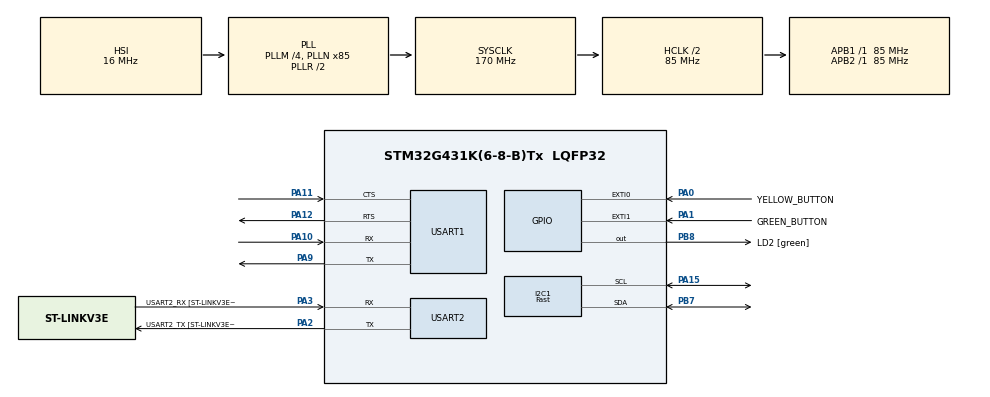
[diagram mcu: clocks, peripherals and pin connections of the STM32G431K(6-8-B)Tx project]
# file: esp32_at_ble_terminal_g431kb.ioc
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I2C1.I2C_Speed_Mode=I2C_Fast
I2C1.Timing=0x20510E2D
Mcu.Family=STM32G4
Mcu.Name=STM32G431K(6-8-B)Tx
Mcu.Package=LQFP32
NVIC.EXTI0_IRQn=true\:0\:0\:false\:false\:true\:true\:true\:true
NVIC.EXTI1_IRQn=true\:0\:0\:false\:false\:true\:true\:true\:true
NVIC.PriorityGroup=NVIC_PRIORITYGROUP_4
NVIC.USART1_IRQn=true\:0\:0\:false\:false\:true\:true\:true\:true
PA0.GPIO_Label=YELLOW_BUTTON
PA0.GPIO_ModeDefaultEXTI=GPIO_MODE_IT_FALLING
PA0.GPIO_PuPd=GPIO_PULLUP
PA0.Signal=GPXTI0
PA1.GPIO_Label=GREEN_BUTTON
PA1.GPIO_ModeDefaultEXTI=GPIO_MODE_IT_FALLING
PA1.GPIO_PuPd=GPIO_PULLUP
PA1.Signal=GPXTI1
PA10.Mode=Asynchronous
PA10.Signal=USART1_RX
PA11.Mode=CTS_RTS
PA11.Signal=USART1_CTS
PA12.Mode=CTS_RTS
PA12.Signal=USART1_RTS
PA13.GPIO_Label=T_SWDIO
PA13.Mode=Serial_Wire
PA13.Signal=SYS_JTMS-SWDIO
PA14.GPIO_Label=T_SWCLK
PA14.Mode=Serial_Wire
PA14.Signal=SYS_JTCK-SWCLK
PA15.Mode=I2C
PA15.Signal=I2C1_SCL
PA2.GPIO_Label=USART2_TX [ST-LINKV3E_VCP_RX]
PA2.Mode=Asynchronous
PA2.Signal=USART2_TX
PA3.GPIO_Label=USART2_RX [ST-LINKV3E_VCP_TX]
PA3.Mode=Asynchronous
PA3.Signal=USART2_RX
PA9.Mode=Asynchronous
PA9.Signal=USART1_TX
PB3.GPIO_Label=T_SWO
PB3.Signal=SYS_JTDO-SWO
PB7.Mode=I2C
PB7.Signal=I2C1_SDA
PB8-BOOT0.GPIO_Label=LD2 [green]
PB8-BOOT0.Signal=GPIO_Output
ProjectManager.HeapSize=0x200
ProjectManager.StackSize=0x400
ProjectManager.TargetToolchain=STM32CubeIDE
RCC.ADC12Freq_Value=170000000
RCC.AHBCLKDivider=RCC_SYSCLK_DIV2
RCC.AHBFreq_Value=85000000
RCC.APB1Freq_Value=85000000
RCC.APB1TimFreq_Value=85000000
RCC.APB2Freq_Value=85000000
RCC.APB2TimFreq_Value=85000000
RCC.CortexFreq_Value=85000000
RCC.EXTERNAL_CLOCK_VALUE=12288000
RCC.HCLKFreq_Value=85000000
RCC.HSE_VALUE=8000000
RCC.HSI48_VALUE=48000000
RCC.HSI_VALUE=16000000
RCC.LSE_VALUE=32768
RCC.PLLM=RCC_PLLM_DIV4
RCC.PLLN=85
RCC.SYSCLKFreq_VALUE=170000000
RCC.SYSCLKSource=RCC_SYSCLKSOURCE_PLLCLK
RCC.USBFreq_Value=170000000
RCC.VCOOutputFreq_Value=340000000
USART1.FIFOMode=FIFOMODE_DISABLE
USART1.VirtualMode-Asynchronous=VM_ASYNC
USART2.VirtualMode-Asynchronous=VM_ASYNC
USART2.WordLength=WORDLENGTH_8B
VP_SYS_VS_DBSignals.Mode=DisableDeadBatterySignals
board=NUCLEO-G431KB

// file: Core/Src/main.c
/* USER CODE BEGIN Header */
/**
 ******************************************************************************
 * @file           : main.c
 * @brief          : Main program body
 ******************************************************************************
 * @attention
 *
 * Copyright (c) 2024 STMicroelectronics.
 * All rights reserved.
 *
 * This software is licensed under terms that can be found in the LICENSE file
 * in the root directory of this software component.
 * If no LICENSE file comes with this software, it is provided AS-IS.
 *
 ******************************************************************************
 */
/* USER CODE END Header */
#include "main.h"
#include "i2c.h"
#include "usart.h"
#include "gpio.h"

/* USER CODE BEGIN Includes */
#include <stdio.h>
#include <stdlib.h>
#include <string.h>

#include "ssd1306.h"
/* USER CODE END Includes */

/* USER CODE BEGIN PD */
#define ESP32_AT_UART_HANDLE &huart1
#define ESP32_AT_UART_INSTANCE USART1
#define RX_BUFF_SIZE 128
#define OLED_LINE_LENGTH 21
/* USER CODE END PD */

/* USER CODE BEGIN PV */
uint8_t echo_off[] = "ATE0\r\n";
uint8_t init_ble[] = "AT+BLEINIT=2\r\n";
uint8_t ble_addr[] = "AT+BLEADDR?\r\n";
uint8_t ble_adv_param[] = "AT+BLEADVPARAM=50,50,0,0,7,0,,\r\n";
uint8_t ble_adv_data[] =
		"AT+BLEADVDATA=\"0201060A09457370726573736966030302A0\"\r\n";
uint8_t ble_adv[] = "AT+BLEADVSTART\r\n";

uint8_t rx_terminal_message[RX_BUFF_SIZE];
uint8_t rx_terminal_message_copy[RX_BUFF_SIZE];
volatile uint16_t rx_length;
char lcd_line[OLED_LINE_LENGTH + 1];
volatile uint8_t esp32c6at_data_received_flag = 0;
char *text_message_ptr;

volatile uint8_t green_button_flag = 0;
volatile uint8_t yellow_button_flag = 0;
/* USER CODE END PV */

void SystemClock_Config(void);
/* USER CODE BEGIN PFP */
char* ParseAtResponse(char *at_string);
/* USER CODE END PFP */

int main(void)
{

	/* MCU Configuration--------------------------------------------------------*/

	/* Reset of all peripherals, Initializes the Flash interface and the Systick. */
	HAL_Init();

	/* Configure the system clock */
	SystemClock_Config();

	/* Initialize all configured peripherals */
	MX_GPIO_Init();
	MX_USART2_UART_Init();
	MX_I2C1_Init();
	MX_USART1_UART_Init();
	/* USER CODE BEGIN 2 */
	ssd1306_Init();
	ssd1306_Fill(Black);
	ssd1306_SetCursor(22, 2);
	ssd1306_WriteString("ufnalski.edu.pl", Font_6x8, White);
	ssd1306_SetCursor(10, 17);
	ssd1306_WriteString("ESP32C6-AT + STM32", Font_6x8, White);
	ssd1306_SetCursor(5, 27);
	ssd1306_WriteString("----  BLE demo  ----", Font_6x8, White);
	ssd1306_SetCursor(2, 42);
	ssd1306_WriteString("RX from XCover 5:", Font_6x8, White);
	ssd1306_UpdateScreen();

	HAL_UART_Transmit(ESP32_AT_UART_HANDLE, echo_off, sizeof(echo_off) - 1,
			100);
	HAL_Delay(100);
	HAL_UART_Transmit(ESP32_AT_UART_HANDLE, init_ble, sizeof(init_ble) - 1,
			100);
	HAL_Delay(100);
	HAL_UART_Transmit(ESP32_AT_UART_HANDLE, ble_addr, sizeof(ble_addr) - 1,
			100);
	HAL_Delay(100);
	/* USER CODE END 2 */

	/* Infinite loop */
	/* USER CODE BEGIN WHILE */
	while (1)
	{

		if (green_button_flag == 1)
		{
			green_button_flag = 0;
			HAL_UART_Transmit(ESP32_AT_UART_HANDLE, ble_adv_param,
					sizeof(ble_adv_param) - 1, 100);
			HAL_Delay(200);
			HAL_UART_Transmit(ESP32_AT_UART_HANDLE, ble_adv_data,
					sizeof(ble_adv_data) - 1, 100);
			HAL_Delay(200);
			HAL_UART_Transmit(ESP32_AT_UART_HANDLE, ble_adv,
					sizeof(ble_adv) - 1, 100);
			HAL_Delay(200);
		}

		if (yellow_button_flag == 1)
		{
			yellow_button_flag = 0;
			memset(rx_terminal_message, 0x00, RX_BUFF_SIZE);
			HAL_UARTEx_ReceiveToIdle_IT(ESP32_AT_UART_HANDLE,
					rx_terminal_message, RX_BUFF_SIZE);
		}

		if (esp32c6at_data_received_flag == 1)
		{
			esp32c6at_data_received_flag = 0;

			memcpy((char*) rx_terminal_message_copy,
					(char*) rx_terminal_message, RX_BUFF_SIZE);
			rx_terminal_message_copy[0] = ' ';
			text_message_ptr = ParseAtResponse(
					(char*) rx_terminal_message_copy);

			if (text_message_ptr != NULL)
			{
				memcpy(lcd_line,
						(char*) rx_terminal_message
								+ (text_message_ptr
										- (char*) rx_terminal_message_copy),
						OLED_LINE_LENGTH);
				lcd_line[OLED_LINE_LENGTH] = '\0';
				ssd1306_SetCursor(2, 53);
				ssd1306_WriteString("                     ", Font_6x8, White);
				ssd1306_UpdateScreen();
				ssd1306_SetCursor(2, 53);
				ssd1306_WriteString(lcd_line, Font_6x8, White);
				ssd1306_UpdateScreen();
			}
			else
			{
				ssd1306_SetCursor(2, 53);
				ssd1306_WriteString("ERROR!               ", Font_6x8, White);
				ssd1306_UpdateScreen();
			}

			memset(rx_terminal_message, 0x00, RX_BUFF_SIZE);
			HAL_UARTEx_ReceiveToIdle_IT(ESP32_AT_UART_HANDLE,
					rx_terminal_message, RX_BUFF_SIZE);
		}

		/* USER CODE END WHILE */

	}
}

void SystemClock_Config(void)
{
	RCC_OscInitTypeDef RCC_OscInitStruct =
	{ 0 };
	RCC_ClkInitTypeDef RCC_ClkInitStruct =
	{ 0 };

	/** Configure the main internal regulator output voltage
	 */
	HAL_PWREx_ControlVoltageScaling(PWR_REGULATOR_VOLTAGE_SCALE1);

	/** Initializes the RCC Oscillators according to the specified parameters
	 * in the RCC_OscInitTypeDef structure.
	 */
	RCC_OscInitStruct.OscillatorType = RCC_OSCILLATORTYPE_HSI;
	RCC_OscInitStruct.HSIState = RCC_HSI_ON;
	RCC_OscInitStruct.HSICalibrationValue = RCC_HSICALIBRATION_DEFAULT;
	RCC_OscInitStruct.PLL.PLLState = RCC_PLL_ON;
	RCC_OscInitStruct.PLL.PLLSource = RCC_PLLSOURCE_HSI;
	RCC_OscInitStruct.PLL.PLLM = RCC_PLLM_DIV4;
	RCC_OscInitStruct.PLL.PLLN = 85;
	RCC_OscInitStruct.PLL.PLLP = RCC_PLLP_DIV2;
	RCC_OscInitStruct.PLL.PLLQ = RCC_PLLQ_DIV2;
	RCC_OscInitStruct.PLL.PLLR = RCC_PLLR_DIV2;
	if (HAL_RCC_OscConfig(&RCC_OscInitStruct) != HAL_OK)
	{
		Error_Handler();
	}

	/** Initializes the CPU, AHB and APB buses clocks
	 */
	RCC_ClkInitStruct.ClockType = RCC_CLOCKTYPE_HCLK | RCC_CLOCKTYPE_SYSCLK
			| RCC_CLOCKTYPE_PCLK1 | RCC_CLOCKTYPE_PCLK2;
	RCC_ClkInitStruct.SYSCLKSource = RCC_SYSCLKSOURCE_PLLCLK;
	RCC_ClkInitStruct.AHBCLKDivider = RCC_SYSCLK_DIV2;
	RCC_ClkInitStruct.APB1CLKDivider = RCC_HCLK_DIV1;
	RCC_ClkInitStruct.APB2CLKDivider = RCC_HCLK_DIV1;

	if (HAL_RCC_ClockConfig(&RCC_ClkInitStruct, FLASH_LATENCY_2) != HAL_OK)
	{
		Error_Handler();
	}
}

/* USER CODE BEGIN 4 */
void HAL_GPIO_EXTI_Callback(uint16_t GPIO_Pin)
{
	if (GPIO_Pin == GREEN_BUTTON_Pin)
	{
		green_button_flag = 1;
	}

	if (GPIO_Pin == YELLOW_BUTTON_Pin)
	{
		yellow_button_flag = 1;
	}
}

void HAL_UARTEx_RxEventCallback(UART_HandleTypeDef *huart, uint16_t Size)
{
	if (huart->Instance == ESP32_AT_UART_INSTANCE)
	{
		esp32c6at_data_received_flag = 1;
		rx_length = Size;
	}
}

char* ParseAtResponse(char *at_string)
{
	char *ptr = NULL;
	uint8_t idx = 0;
	ptr = strtok(at_string, ",");
	while (ptr != NULL)
	{
		idx++;
		if (idx == 5)
		{
			return ptr;
		}
		ptr = strtok(NULL, ",");
	}
	return NULL;
}
/* USER CODE END 4 */

void Error_Handler(void)
{
	__disable_irq();
	while (1)
	{
	}
}
